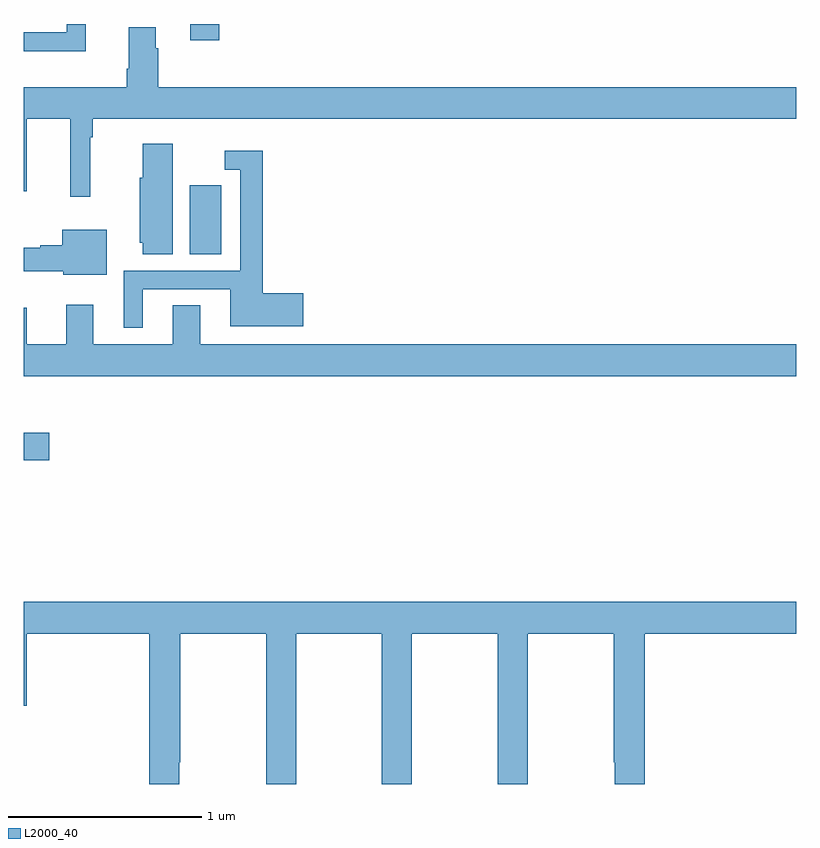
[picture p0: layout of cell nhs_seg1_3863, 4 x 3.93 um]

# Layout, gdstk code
import gdstk
lib = gdstk.Library(unit=1e-6, precision=1e-09)
def R(c, l, rs):  # rectangles x0, y0, x1, y1
    for r in rs: c.add(gdstk.rectangle(r[:2], r[2:], *l))
def P(c, l, *ps):  # polygons
    for p in ps: c.add(gdstk.Polygon(p, *l))
L2000_40 = (2000, 40)

nhs_seg1_3863 = lib.new_cell('nhs_seg1_3863')
R(nhs_seg1_3863, L2000_40, [(321,573.941,321.133,574.083), (321.86,575.008,322.024,575.365), (321.863,576.114,322.012,576.199)])
P(nhs_seg1_3863, L2000_40, [(321.321,576.199),(321.222,576.199),(321.222,576.156),(321,576.156),(321,576.059),(321.321,576.059)],
  [(321.344,575.612),(321.359,575.612),(321.359,575.708),(325,575.708),(325,575.872),(321.698,575.872),(321.698,576.074),(321.685,576.074),(321.685,576.181),(321.545,576.181),(321.545,575.968),(321.533,575.968),(321.533,575.872),(321,575.872),(321,575.334),(321.016,575.334),(321.016,575.708),(321.241,575.708),(321.241,575.304),(321.344,575.304)],
  [(321.772,575.578),(321.617,575.578),(321.617,575.403),(321.602,575.403),(321.602,575.067),(321.617,575.067),(321.617,575.008),(321.772,575.008)],
  [(321.616,574.827),(322.07,574.827),(322.07,574.634),(322.447,574.634),(322.447,574.805),(322.238,574.805),(322.238,575.542),(322.041,575.542),(322.041,575.445),(322.122,575.445),(322.122,574.923),(321.518,574.923),(321.518,574.626),(321.616,574.626)],
  [(321.43,575.134),(321.2,575.134),(321.2,575.054),(321.087,575.054),(321.087,575.041),(321,575.041),(321,574.919),(321.204,574.919),(321.204,574.901),(321.43,574.901)],
  [(325,574.54),(321.913,574.54),(321.913,574.742),(321.773,574.742),(321.773,574.54),(321.361,574.54),(321.361,574.747),(321.221,574.747),(321.221,574.54),(321.016,574.54),(321.016,574.729),(321,574.729),(321,574.376),(325,574.376)],
  [(321.805,572.377),(321.81,572.377),(321.81,573.044),(322.255,573.044),(322.255,572.265),(322.41,572.265),(322.41,573.044),(322.855,573.044),(322.855,572.265),(323.01,572.265),(323.01,573.044),(323.455,573.044),(323.455,572.265),(323.61,572.265),(323.61,573.044),(324.055,573.044),(324.055,572.377),(324.059,572.377),(324.059,572.265),(324.215,572.265),(324.215,573.044),(325,573.044),(325,573.208),(321,573.208),(321,572.67),(321.016,572.67),(321.016,573.044),(321.65,573.044),(321.65,572.265),(321.805,572.265)])

lib.write_gds('nhs_seg1_3863.gds')
